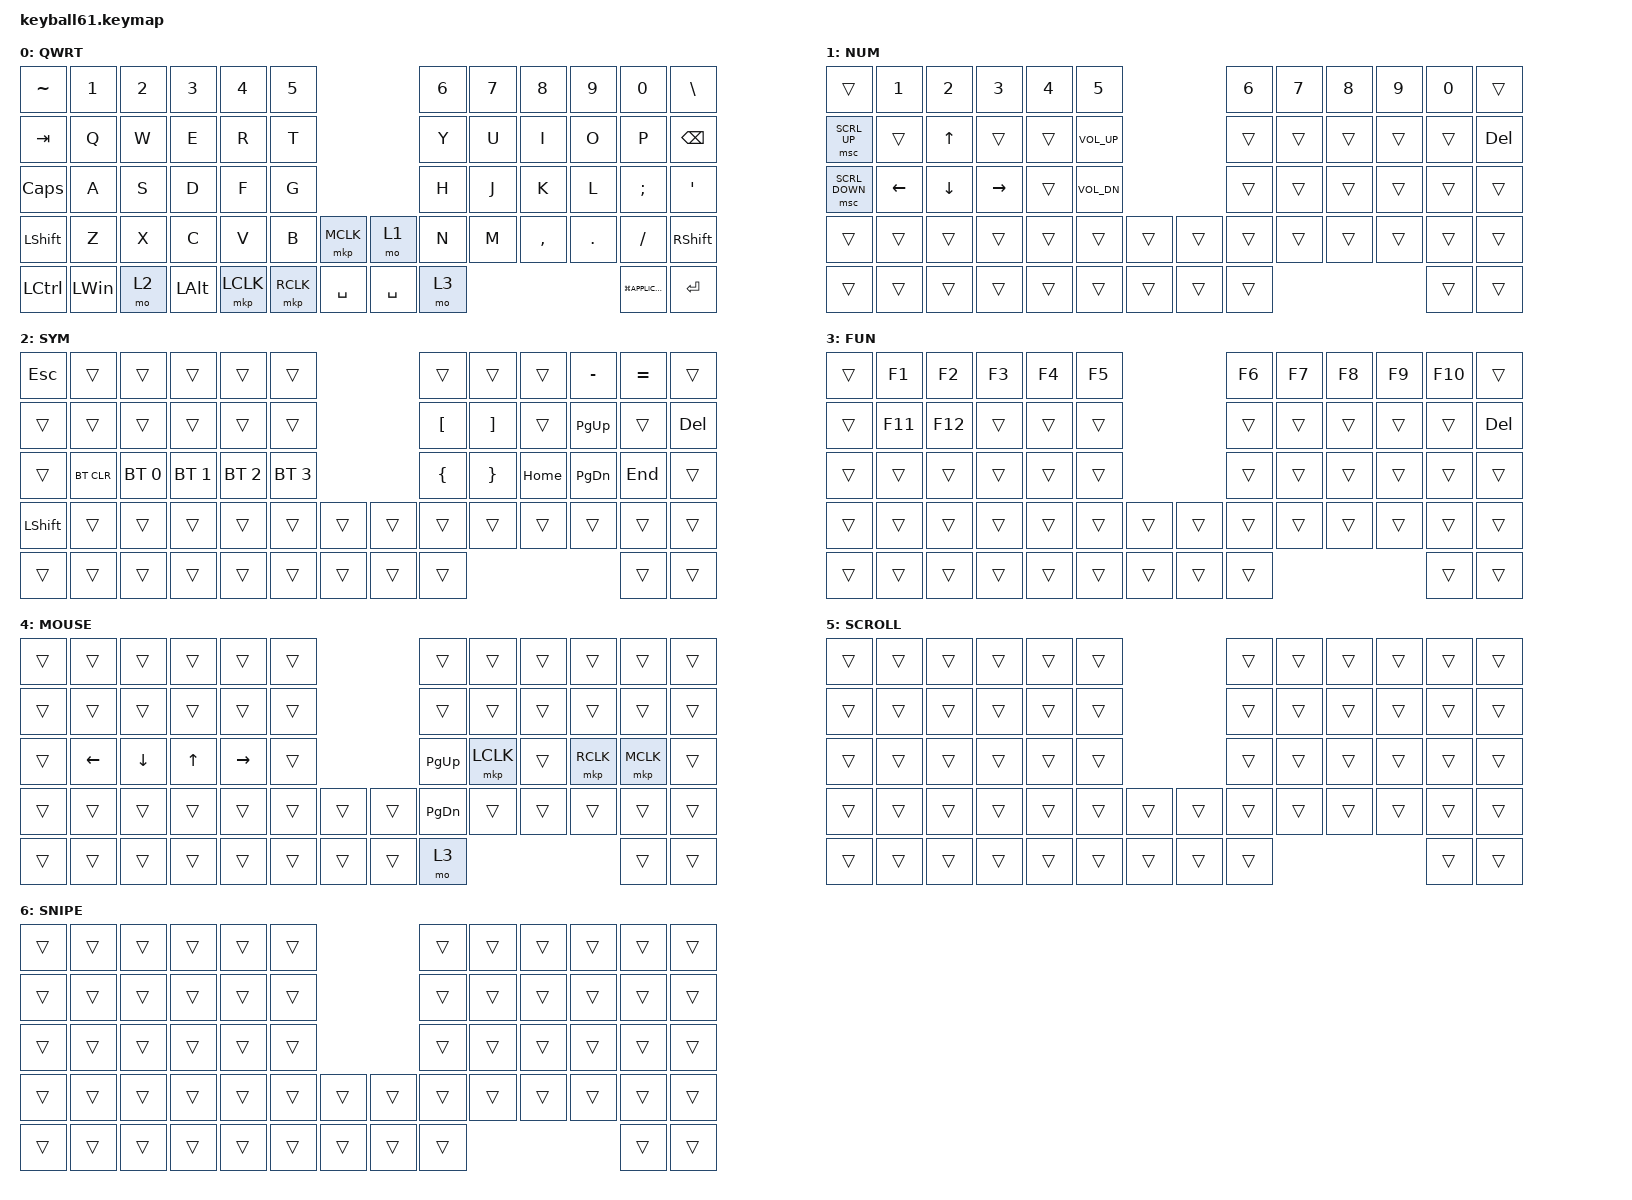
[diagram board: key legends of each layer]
#define DEFAULT 0
#define SYM     1
#define FUN     2
#define MOUSE   3
#define SCROLL  4
#define SNIPE   5

#include <behaviors/mouse_keys.dtsi>
#include <dt-bindings/zmk/mouse.h>
#include <behaviors.dtsi>
#include <dt-bindings/zmk/bt.h>
#include <dt-bindings/zmk/keys.h>
#include <dt-bindings/zmk/pointing.h>

&lt {
    tapping-term-ms = <240>;
    flavor = "balanced";
    quick-tap-ms = <150>;
};

&mt {
    tapping-term-ms = <200>;
    flavor = "tap-preferred";
    quick-tap-ms = <150>;
};

/ {
    keymap {
        compatible = "zmk,keymap";

        default_layer {
            label = "QWRT";
            bindings = <
&kp TILDE         &kp N1        &kp N2  &kp N3        &kp N4     &kp N5                           &kp N6  &kp N7  &kp N8     &kp N9   &kp N0                 &kp BACKSLASH
&kp TAB           &kp Q         &kp W   &kp E         &kp R      &kp T                            &kp Y   &kp U   &kp I      &kp O    &kp P                  &kp BACKSPACE
&kp CAPS          &kp A         &kp S   &kp D         &kp F      &kp G                            &kp H   &kp J   &kp K      &kp L    &kp SEMI               &kp SQT
&kp LEFT_SHIFT    &kp Z         &kp X   &kp C         &kp V      &kp B      &mkp MCLK  &mo 1      &kp N   &kp M   &kp COMMA  &kp DOT  &kp FSLH               &kp RIGHT_SHIFT
&kp LEFT_CONTROL  &kp LEFT_WIN  &mo 2   &kp LEFT_ALT  &mkp LCLK  &mkp RCLK  &kp SPACE  &kp SPACE  &mo 3                               &kp LG(K_APPLICATION)  &kp ENTER
            >;
        };

        number_layer {
            bindings = <
&trans          &kp N1    &kp N2        &kp N3     &kp N4  &kp N5                        &kp N6  &kp N7  &kp N8  &kp N9  &kp N0  &trans
&msc SCRL_UP    &trans    &kp UP_ARROW  &trans     &trans  &kp C_VOL_UP                  &trans  &trans  &trans  &trans  &trans  &kp DEL
&msc SCRL_DOWN  &kp LEFT  &kp DOWN      &kp RIGHT  &trans  &kp C_VOL_DN                  &trans  &trans  &trans  &trans  &trans  &trans
&trans          &trans    &trans        &trans     &trans  &trans        &trans  &trans  &trans  &trans  &trans  &trans  &trans  &trans
&trans          &trans    &trans        &trans     &trans  &trans        &trans  &trans  &trans                          &trans  &trans
            >;

            label = "NUM";
        };

        symbol_layer {
            label = "SYM";
            bindings = <
&kp ESCAPE      &trans      &trans        &trans        &trans        &trans                        &trans            &trans             &trans    &kp MINUS      &kp EQUAL  &trans
&trans          &trans      &trans        &trans        &trans        &trans                        &kp LEFT_BRACKET  &kp RIGHT_BRACKET  &trans    &kp PAGE_UP    &trans     &kp DEL
&trans          &bt BT_CLR  &bt BT_SEL 0  &bt BT_SEL 1  &bt BT_SEL 2  &bt BT_SEL 3                  &kp LEFT_BRACE    &kp RIGHT_BRACE    &kp HOME  &kp PAGE_DOWN  &kp END    &trans
&kp LEFT_SHIFT  &trans      &trans        &trans        &trans        &trans        &trans  &trans  &trans            &trans             &trans    &trans         &trans     &trans
&trans          &trans      &trans        &trans        &trans        &trans        &trans  &trans  &trans                                                        &trans     &trans
            >;
        };

        function_layer {
            label = "FUN";
            bindings = <
&trans  &kp F1   &kp F2   &kp F3  &kp F4  &kp F5                  &kp F6  &kp F7  &kp F8  &kp F9  &kp F10  &trans
&trans  &kp F11  &kp F12  &trans  &trans  &trans                  &trans  &trans  &trans  &trans  &trans   &kp DELETE
&trans  &trans   &trans   &trans  &trans  &trans                  &trans  &trans  &trans  &trans  &trans   &trans
&trans  &trans   &trans   &trans  &trans  &trans  &trans  &trans  &trans  &trans  &trans  &trans  &trans   &trans
&trans  &trans   &trans   &trans  &trans  &trans  &trans  &trans  &trans                          &trans   &trans
            >;
        };

        mouse_layer {
            label = "MOUSE";
            bindings = <
&trans  &trans    &trans    &trans  &trans     &trans                  &trans         &trans     &trans  &trans     &trans     &trans
&trans  &trans    &trans    &trans  &trans     &trans                  &trans         &trans     &trans  &trans     &trans     &trans
&trans  &kp LEFT  &kp DOWN  &kp UP  &kp RIGHT  &trans                  &kp PAGE_UP    &mkp LCLK  &trans  &mkp RCLK  &mkp MCLK  &trans
&trans  &trans    &trans    &trans  &trans     &trans  &trans  &trans  &kp PAGE_DOWN  &trans     &trans  &trans     &trans     &trans
&trans  &trans    &trans    &trans  &trans     &trans  &trans  &trans  &mo 3                                        &trans     &trans
            >;
        };

        scroll_layer {
            label = "SCROLL";
            bindings = <
&trans  &trans  &trans  &trans  &trans  &trans                  &trans  &trans  &trans  &trans  &trans  &trans
&trans  &trans  &trans  &trans  &trans  &trans                  &trans  &trans  &trans  &trans  &trans  &trans
&trans  &trans  &trans  &trans  &trans  &trans                  &trans  &trans  &trans  &trans  &trans  &trans
&trans  &trans  &trans  &trans  &trans  &trans  &trans  &trans  &trans  &trans  &trans  &trans  &trans  &trans
&trans  &trans  &trans  &trans  &trans  &trans  &trans  &trans  &trans                          &trans  &trans
            >;
        };

        snipe_layer {
            label = "SNIPE";
            bindings = <
&trans  &trans  &trans  &trans  &trans  &trans                  &trans  &trans  &trans  &trans  &trans  &trans
&trans  &trans  &trans  &trans  &trans  &trans                  &trans  &trans  &trans  &trans  &trans  &trans
&trans  &trans  &trans  &trans  &trans  &trans                  &trans  &trans  &trans  &trans  &trans  &trans
&trans  &trans  &trans  &trans  &trans  &trans  &trans  &trans  &trans  &trans  &trans  &trans  &trans  &trans
&trans  &trans  &trans  &trans  &trans  &trans  &trans  &trans  &trans                          &trans  &trans
            >;
        };
    };
};
